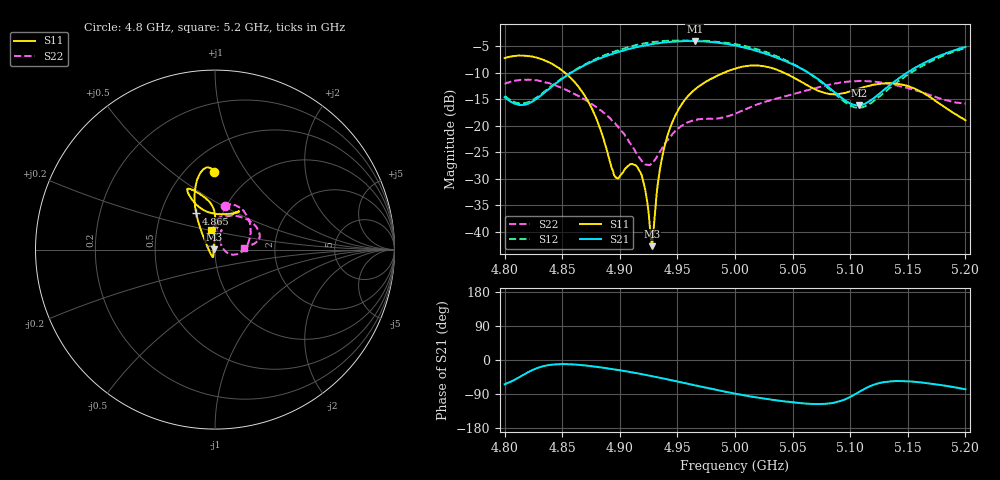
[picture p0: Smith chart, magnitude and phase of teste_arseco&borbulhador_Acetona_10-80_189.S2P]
! Network Analyzer HP8722D
! Hewlett-Packard
! Data name: Linha & Wilkinson
! Saver's name: Rodrigo Anjos
! Comments: Teste da utilização de aquisição
! continua pelo VNA HP8722D
! Time and date: 25/4/2025 16:50
!  Frequency  S11  S21  S12  S22
# HZ  S  MA R 50
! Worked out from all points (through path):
!   401 points, 4.8 GHz to 5.2 GHz, reference 50 ohm
!   highest |S21| = -3.97 dB at 4.965 GHz (marker M1); lowest = -16.1 dB at 5.108 GHz (marker M2)
!   lowest |S11| = -42.8 dB at 4.928 GHz (marker M3), VSWR 1.01, Z = 49.3 + j0.068 ohm
!   |S11| at or under -10 dB: 4.852 GHz to 4.99 GHz (137.9 MHz wide, 2.8 % of centre); 5.042 GHz to end of sweep
!   |S22| runs from -27.4 to -11.3 dB; largest |S21 - S12| = 1.2
!   S11 on the Smith chart (normalised r, x): 4.8 GHz: 0.67, +0.72; 4.865 GHz: 0.75, +0.32; 5.2 GHz: 0.94, +0.21
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4.8e9  0.435 91.0  0.1856 -64.1  0.1914 69.5  0.2486 77.4
4.82e9  0.4547 97.2  0.1605 -32.5  0.1664 98.1  0.2725 62.0
4.845e9  0.3621 107.6  0.2537 -11.4  0.2572 119.5  0.238 34.7
4.865e9  0.2266 117.4  0.3516 -12.9  0.3563 120.9  0.1887 11.4
4.867e9  0.2113 118.6  0.3619 -13.7  0.3664 120.8  0.1833 9.0
4.88e9  0.1141 128.5  0.4216 -18.3  0.4314 118.3  0.1488 -4.8
4.896e9  0.03295 -169.7  0.4857 -25.1  0.5052 113.2  0.1054 -15.3
4.91e9  0.04342 -107.8  0.5369 -32.4  0.5618 107.3  0.06581 -13.3
4.917e9  0.03742 -104.1  0.5614 -36.3  0.5873 103.7  0.04987 -0.7
4.922e9  0.02495 -107.6  0.5743 -39.1  0.602 101.0  0.04299 15.8
4.928e9  0.007276 174.6  0.5891 -42.8  0.6157 97.2  0.04474 39.8
4.934e9  0.03379 100.4  0.6023 -46.5  0.6278 93.6  0.05524 57.5
4.939e9  0.06488 93.4  0.6131 -49.6  0.6331 90.3  0.06719 65.1
4.945e9  0.1042 90.5  0.6212 -53.4  0.6383 86.6  0.08165 69.1
4.965e9  0.219 91.3  0.6328 -66.9  0.6364 73.7  0.1136 71.5
5e9  0.3466 109.4  0.5724 -88.7  0.5922 51.0  0.13 88.5
5.031e9  0.3532 115.3  0.4617 -104.5  0.4778 33.4  0.1744 84.7
5.067e9  0.2275 105.6  0.301 -115.8  0.2988 23.6  0.2222 57.5
5.108e9  0.2245 63.9  0.1558 -83.7  0.1476 59.4  0.2644 23.7
5.134e9  0.2519 57.9  0.2393 -56.6  0.2249 88.7  0.2488 12.5
5.168e9  0.1904 69.8  0.4122 -61.6  0.3947 85.4  0.1966 7.1
5.2e9  0.1126 100.8  0.5532 -77.3  0.5426 70.2  0.1618 3.8
